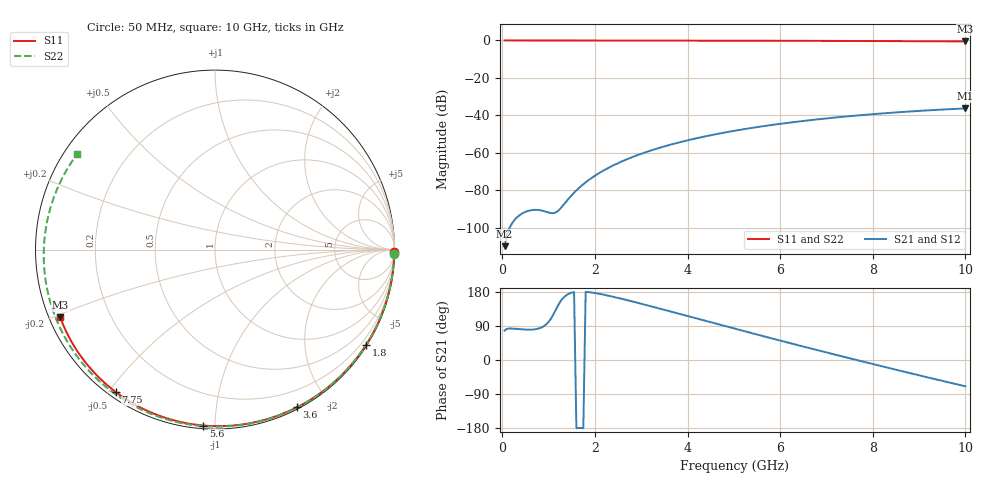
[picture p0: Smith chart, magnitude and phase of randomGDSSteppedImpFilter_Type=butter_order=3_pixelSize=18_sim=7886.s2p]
! freq	dB(S11)	phase(S11)	dB(S12)	phase(S12)
!  dB(S21)	phase(S21)	dB(S22)	phase(S22)
!S-par simulation data
#  GHz  S  DB  R 50
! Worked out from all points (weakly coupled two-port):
!   200 points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, 50 MHz to 10 GHz, reference 50 ohm
!   highest |S21| = -36.27 dB at 10 GHz (marker M1); lowest = -109.8 dB at 50 MHz (marker M2)
!   lowest |S11| = -0.5 dB at 10 GHz (marker M3), VSWR 33.20, Z = 1.57 - j10.4 ohm
!   |S11| at or under -10 dB: nowhere
!   |S22| runs from -0.6 to 0.0 dB; largest |S21 - S12| = 0
!   S11 on the Smith chart (normalised r, x): 50 MHz: open; 1.8 GHz: 0.03, -3.47; 3.6 GHz: 0.02, -1.65; 5.6 GHz: 0.02, -0.94; 7.75 GHz: 0.02, -0.52; 10 GHz: 0.03, -0.21
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0.05  -0.00 -0.9  -109.76 77.5  -109.76 77.5  -0.00 -1.3
0.45  -0.01 -8.1  -92.02 80.7  -92.02 80.7  -0.02 -11.7
0.8  -0.02 -14.4  -90.51 83.6  -90.51 83.6  -0.03 -20.7
1.2  -0.03 -21.6  -91.03 143.2  -91.03 143.2  -0.04 -30.8
1.6  -0.04 -28.6  -79.99 -179.9  -79.99 -179.9  -0.05 -40.8
1.75  -0.04 -31.3  -76.69 -179.7  -76.69 -179.7  -0.06 -44.5
1.8  -0.04 -32.1  -75.70 179.9  -75.70 179.9  -0.06 -45.7
2.1  -0.05 -37.3  -70.64 174.5  -70.64 174.5  -0.07 -53.0
2.5  -0.06 -44.2  -65.45 163.8  -65.45 163.8  -0.08 -62.5
2.9  -0.07 -51.0  -61.36 151.6  -61.36 151.6  -0.09 -71.8
3.4  -0.08 -59.3  -57.24 135.6  -57.24 135.6  -0.11 -83.0
3.6  -0.08 -62.6  -55.82 129.1  -55.82 129.1  -0.11 -87.4
4.3  -0.11 -73.8  -51.60 106.2  -51.60 106.2  -0.14 -102.3
5.05  -0.13 -85.4  -48.03 81.7  -48.03 81.7  -0.17 -117.6
5.6  -0.16 -93.8  -45.87 64.0  -45.87 64.0  -0.20 -128.4
6.15  -0.18 -101.9  -44.00 46.5  -44.00 46.5  -0.24 -139.1
6.7  -0.21 -109.9  -42.39 29.2  -42.39 29.2  -0.27 -149.5
7.25  -0.25 -117.7  -40.97 12.2  -40.97 12.2  -0.32 -160.0
7.75  -0.29 -124.8  -39.85 -3.1  -39.85 -3.1  -0.36 -169.5
8.35  -0.34 -133.2  -38.66 -21.2  -38.66 -21.2  -0.42 178.9
9.2  -0.43 -145.1  -37.28 -46.3  -37.28 -46.3  -0.50 162.1
10  -0.52 -156.4  -36.27 -69.5  -36.27 -69.5  -0.59 145.4
